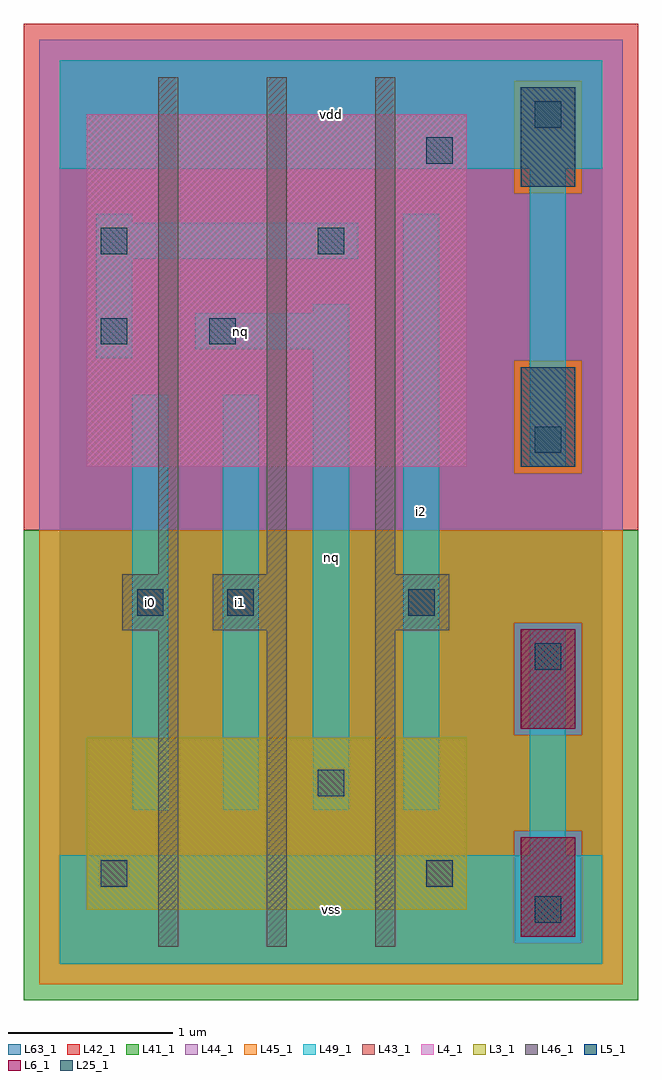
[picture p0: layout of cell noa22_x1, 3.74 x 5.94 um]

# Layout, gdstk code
import gdstk
lib = gdstk.Library(unit=1e-6, precision=1e-09)
def R(c, l, rs):  # rectangles x0, y0, x1, y1
    for r in rs: c.add(gdstk.rectangle(r[:2], r[2:], *l))
def A(c, l, x, y, w, h, nx, ny, dx, dy):  # array of equal rectangles
    R(c, l, [(x+i*dx, y+j*dy, x+i*dx+w, y+j*dy+h) for i in range(nx) for j in range(ny)])
L3_1 = (3, 1)
L4_1 = (4, 1)
L5_1 = (5, 1)
L6_1 = (6, 1)
L25_1 = (25, 1)
L41_1 = (41, 1)
L42_1 = (42, 1)
L43_1 = (43, 1)
L44_1 = (44, 1)
L45_1 = (45, 1)
L46_1 = (46, 1)
L49_1 = (49, 1)
L63_1 = (63, 1)

noa22_x1 = lib.new_cell('noa22_x1')
R(noa22_x1, L3_1, [(0.165,0.33,2.475,1.375)])
R(noa22_x1, L4_1, [(0.165,3.025,2.475,5.17)])
R(noa22_x1, L5_1, [(2.805,3.025,3.135,3.63), (2.805,4.73,3.135,5.335)])
R(noa22_x1, L6_1, [(2.805,0.165,3.135,0.77), (2.805,1.43,3.135,2.035)])
R(noa22_x1, L25_1, [(2.89,0.25,3.05,0.41), (0.25,0.47,0.41,0.63), (2.23,0.47,2.39,0.63), (1.57,1.02,1.73,1.18), (2.89,1.79,3.05,1.95), (0.47,2.12,0.63,2.28), (1.02,2.12,1.18,2.28), (2.12,2.12,2.28,2.28), (2.89,3.11,3.05,3.27), (0.25,3.77,0.41,3.93), (0.91,3.77,1.07,3.93), (0.25,4.32,0.41,4.48), (1.57,4.32,1.73,4.48), (2.23,4.87,2.39,5.03), (2.89,5.09,3.05,5.25)])
R(noa22_x1, L41_1, [(-0.22,-0.22,3.52,2.64)])
R(noa22_x1, L42_1, [(-0.22,2.64,3.52,5.72)])
R(noa22_x1, L43_1, [(2.805,0.165,3.135,0.77), (0.165,0.33,2.475,1.375), (2.805,1.43,3.135,2.035), (0.165,3.025,2.475,5.17), (2.805,3.025,3.135,3.63), (2.805,4.73,3.135,5.335)])
R(noa22_x1, L44_1, [(2.765,0.125,3.175,0.81), (2.765,1.39,3.175,2.075), (-0.125,2.64,3.425,2.985), (-0.125,2.985,2.765,3.67), (3.175,2.985,3.425,3.67), (-0.125,3.67,3.425,4.69), (-0.125,4.69,2.765,5.375), (3.175,4.69,3.425,5.375), (-0.125,5.375,3.425,5.625)])
R(noa22_x1, L45_1, [(-0.125,-0.125,3.425,0.125), (-0.125,0.125,2.765,0.81), (3.175,0.125,3.425,0.81), (-0.125,0.81,3.425,1.39), (-0.125,1.39,2.765,2.075), (3.175,1.39,3.425,2.075), (-0.125,2.075,3.425,2.64), (2.765,2.985,3.175,3.67), (2.765,4.69,3.175,5.375)])
A(noa22_x1, L46_1, 0.6, 0.105, 0.12, 1.925, 3, 1, 0.66, 0)
A(noa22_x1, L46_1, 0.6, 2.37, 0.12, 3.025, 3, 1, 0.66, 0)
R(noa22_x1, L46_1, [(0.38,2.03,0.72,2.37), (0.93,2.03,1.38,2.37), (1.92,2.03,2.37,2.37)])
R(noa22_x1, L49_1, [(0,0,3.3,0.66), (2.86,0.66,3.08,2.035), (0.44,0.935,0.66,3.465), (0.99,0.935,1.21,3.465), (1.54,0.935,1.76,3.74), (2.09,0.935,2.31,4.565), (2.86,3.025,3.08,4.84), (0.22,3.685,0.44,4.29), (0.825,3.74,1.76,3.96), (1.54,3.96,1.76,4.015), (0.22,4.29,1.815,4.51), (0.22,4.51,0.44,4.565), (0,4.84,3.3,5.5)])
R(noa22_x1, L63_1, [(0,0,3.3,5.5)])
noa22_x1.add(gdstk.Label('i0', (0.55,2.2), layer=49, texttype=1))
noa22_x1.add(gdstk.Label('i1', (1.1,2.2), layer=49, texttype=1))
noa22_x1.add(gdstk.Label('nq', (1.1,3.85), layer=49, texttype=1))
noa22_x1.add(gdstk.Label('vss', (1.65,0.33), layer=49, texttype=1))
noa22_x1.add(gdstk.Label('nq', (1.65,2.475), layer=49, texttype=1))
noa22_x1.add(gdstk.Label('i2', (2.2,2.75), layer=49, texttype=1))
noa22_x1.add(gdstk.Label('vdd', (1.65,5.17), layer=49, texttype=1))

lib.write_gds('noa22_x1.gds')
